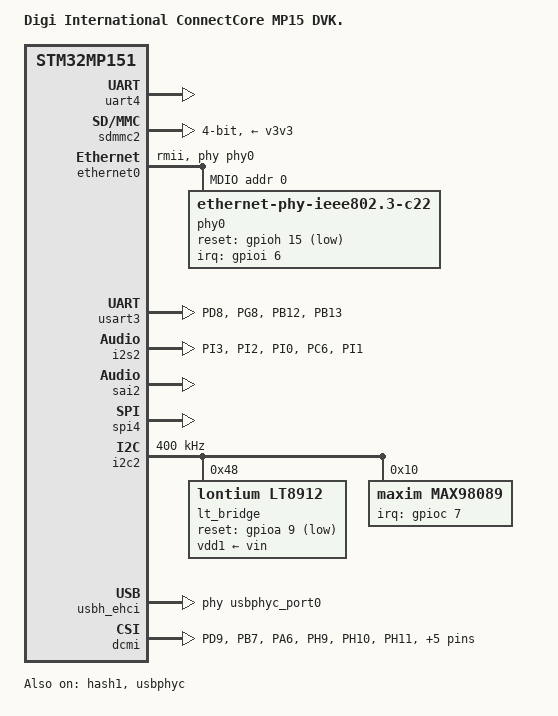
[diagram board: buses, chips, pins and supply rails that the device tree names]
/*
 * Copyright 2022, Digi International Inc.
 *
 * Permission to use, copy, modify, and/or distribute this software for any
 * purpose with or without fee is hereby granted, provided that the above
 * copyright notice and this permission notice appear in all copies.
 * THE SOFTWARE IS PROVIDED "AS IS" AND THE AUTHOR DISCLAIMS ALL WARRANTIES
 * WITH REGARD TO THIS SOFTWARE INCLUDING ALL IMPLIED WARRANTIES OF
 * MERCHANTABILITY AND FITNESS. IN NO EVENT SHALL THE AUTHOR BE LIABLE FOR
 * ANY SPECIAL, DIRECT, INDIRECT, OR CONSEQUENTIAL DAMAGES OR ANY DAMAGES
 * WHATSOEVER RESULTING FROM LOSS OF USE, DATA OR PROFITS, WHETHER IN AN
 * ACTION OF CONTRACT, NEGLIGENCE OR OTHER TORTIOUS ACTION, ARISING OUT OF
 * OR IN CONNECTION WITH THE USE OR PERFORMANCE OF THIS SOFTWARE.
 */

/dts-v1/;

/* STM32MP151 CPU */
#include "stm32mp151.dtsi"
#include "stm32mp15xa.dtsi"
#include "stm32mp15-pinctrl.dtsi"
#include "stm32mp15xxac-pinctrl.dtsi"
/* Digi ConnectCore CCMP15 */
#include "ccmp15.dtsi"

/ {
	model = "Digi International ConnectCore MP15 DVK.";
	compatible = "digi,ccmp15-dvk", "digi,ccmp15", "st,stm32mp151";
	digi,machine,name = "ccmp151-dvk";

	chosen {
		stdout-path = "serial0:115200n8";
	};

/*	panel {
		compatible = "auo,g101evn010", "simple-panel";
		//power-supply = <&ldo4_ext>;
		//backlight = <&lcd_backlight>;

		port {
			panel_in: endpoint {
				remote-endpoint = <&display_out>;
			};
		};
	};*/

	usb_phy_tuning: usb-phy-tuning {
		st,hs-dc-level = <2>;
		st,fs-rftime-tuning;
		st,hs-rftime-reduction;
		st,hs-current-trim = <15>;
		st,hs-impedance-trim = <1>;
		st,squelch-level = <3>;
		st,hs-rx-offset = <2>;
		st,no-lsfs-sc;
	};

	sound_max98089: sound-max98089 {
		compatible = "st,stm-audio-max98088";
		model = "stm32_max98088";
		cpu-dai = <&i2s2>;
		audio-codec = <&max98089>;
		audio-routing =
			"Headphone Jack", "HPL",
			"Headphone Jack", "HPR",
			"Ext Spk", "SPKL",
			"Ext Spk", "SPKR",
			"LineOut", "RECL",
			"LineOut", "RECR",
			"Mic1", "MIC1",
			"Mic2", "MIC2",
			"LineInA", "INA1",
			"LineInA", "INA2",
			"LineInB", "INB1",
			"LineInB", "INB2";
		status = "okay";
	};
};

/* Console */
&uart4 {
	pinctrl-names = "default", "sleep", "idle";
	pinctrl-0 = <&uart4_pins_a>;
	pinctrl-1 = <&uart4_sleep_pins_a>;
	pinctrl-2 = <&uart4_idle_pins_a>;
	/delete-property/dmas;
	/delete-property/dma-names;
	status = "okay";
};

/* Micro SD */ 
&sdmmc2 {
	pinctrl-names = "default", "opendrain", "sleep";
	pinctrl-0 = <&sdmmc2_b4_pins_a>;
	pinctrl-1 = <&sdmmc2_b4_od_pins_a>;
	pinctrl-2 = <&sdmmc2_b4_sleep_pins_a>;
	broken-cd;
	disable-wp;
	st,neg-edge;
	bus-width = <4>;
	vmmc-supply = <&v3v3>;
	status = "okay";
};

&ethernet0 {
	status = "okay";
	pinctrl-0 = <&ethernet0_rmii_pins_a>;
	pinctrl-1 = <&ethernet0_rmii_sleep_pins_a>;
	pinctrl-names = "default", "sleep";
	phy-mode = "rmii";
	max-speed = <100>;
	phy-handle = <&phy0>;
	local-mac-address = [00 04 F3 22 23 24];
	st,eth-ref-clk-sel = <1>;
	st,ext-phyclk = <1>;

	mdio0 {
		#address-cells = <1>;
		#size-cells = <0>;
		compatible = "snps,dwmac-mdio";

		phy0: ethernet-phy@0 {
			reg = <0>;
			compatible = "ethernet-phy-ieee802.3-c22";
			reset-gpios = <&gpioh 15 GPIO_ACTIVE_LOW>;
			reset-assert-us = <500>;
			smsc,disable-energy-detect;
			interrupt-parent = <&gpioi>;
			interrupts = <6 IRQ_TYPE_LEVEL_LOW>;
		};
	};
};

/* GigaBit network connection
&ethernet1 {
	status = "okay";
	pinctrl-0 = <&ethernet0_rgmii_pins_a>;
	pinctrl-1 = <&ethernet0_rgmii_sleep_pins_a>;
	pinctrl-names = "default", "sleep";
	phy-mode = "rgmii-id";
	max-speed = <1000>;
	phy-handle = <&phy0>;
	local-mac-address = [00 04 F3 22 23 24];

	mdio0 {
		#address-cells = <1>;
		#size-cells = <0>;
		compatible = "snps,dwmac-mdio";
		phy0: ethernet-phy@0 {
			reg = <0>;
		};
	};
};*/

&hash1 {
	status = "okay";
};

/* Connected to XBee some pins are shared with LTDC */
&usart3 {
	pinctrl-names = "default", "sleep", "idle";
	pinctrl-0 = <&ccmp15_usart3_pins>;
	pinctrl-1 = <&ccmp15_usart3_sleep_pins>;
	pinctrl-2 = <&ccmp15_usart3_idle_pins>;
	uart-has-rtscts;
	status = "okay";
};

&i2s2 {
	clocks = <&rcc SPI2>, <&rcc SPI2_K>, <&rcc PLL3_Q>, <&rcc PLL3_R>;
	clock-names = "pclk", "i2sclk", "x8k", "x11k";
	pinctrl-names = "default", "sleep";
	pinctrl-0 = <&ccmp15_i2s2_pins_a>;
	pinctrl-1 = <&ccmp15_i2s2_sleep_pins_a>;
	status = "okay";
	#clock-cells = <0>;
};

&ltdc {
	pinctrl-names = "default", "sleep";
	pinctrl-0 = <&ltdc_pins_a>;
	pinctrl-1 = <&ltdc_sleep_pins_a>;
	status = "disabled";

	port {
		ltdc_ep0_out: endpoint@0 {
			reg = <0>;
			//remote-endpoint = <&dsi_in>;
		};
	};
};

&sai2 {
	clocks = <&rcc SAI2>, <&rcc PLL3_Q>, <&rcc PLL3_R>;
	clock-names = "pclk", "x8k", "x11k";
	pinctrl-names = "default", "sleep";
	pinctrl-0 = <&sai2a_pins_a>, <&sai2b_pins_b>;
	pinctrl-1 = <&sai2a_sleep_pins_a>, <&sai2b_sleep_pins_b>;
	status = "okay";

	sai2a: audio-controller@4400b004 {
		#clock-cells = <0>;
		dma-names = "tx";
		status = "okay";

		sai2a_port: port {
			sai2a_endpoint: endpoint {
				// audio-codec remote-endpoint = <&cs42l51_tx_endpoint>;
				format = "i2s";
				mclk-fs = <256>;
				dai-tdm-slot-num = <2>;
				dai-tdm-slot-width = <32>;
			};
		};
	};

	sai2b: audio-controller@4400b024 {
		dma-names = "rx";
		st,sync = <&sai2a 2>;
		clocks = <&rcc SAI2_K>, <&sai2a>;
		clock-names = "sai_ck", "MCLK";
		status = "okay";

		sai2b_port: port {
			sai2b_endpoint: endpoint {
				//audio codec remote-endpoint = <&cs42l51_rx_endpoint>;
				format = "i2s";
				mclk-fs = <256>;
				dai-tdm-slot-num = <2>;
				dai-tdm-slot-width = <32>;
			};
		};
	};
};

&spi4 {
	pinctrl-names = "default", "sleep";
	pinctrl-0 = <&spi4_pins_b>;
	pinctrl-1 = <&spi4_sleep_pins_b>;
	status = "okay";
};

&i2c2 {
	clock-frequency = <400000>;
	pinctrl-name = "default", "sleep";
	pinctrl-0 = <&i2c2_pins_a>;
	pinctrl-1 = <&i2c2_sleep_pins_a>;
	i2c-scl-rising-time-ns = <185>;
	i2c-scl-falling-time-ns = <20>;
	status = "okay";
	/* spare dmas for other usage */
	/delete-property/dmas;
	/delete-property/dma-names;

	lt_bridge: lt8912@48 {
		compatible = "lontium,lt8912";
		reg = <0x48>;
		reset-gpios = <&gpioa 9 GPIO_ACTIVE_LOW>;
		//hpd-gpios = <&gpioX X GPIO_ACTIVE_HIGH>;
		digi,dsi-lanes = <2>;
		vdd1-supply = <&vin>;
		no-edid;
		status = "okay";

		port {
			lt8912_1_in: endpoint {
				/* add lanes 
				remote-endpoint = <&mipi_dsi_hdmi_out>; */
			};
		};
	};

	max98089: codec@10 {
		compatible = "maxim,max98089";
		reg = <0x10>;
		clocks = <&rcc SPI2_K>;
		clock-names = "mclk";
		interrupt-parent = <&gpioc>;
		interrupts = <7 IRQ_TYPE_EDGE_FALLING>;
		#sound-dai-cells = <0>;
		#clock-cells = <0>;
		status = "okay";
	};
};

&i2c6 {
	clock-frequency = <400000>;
	pinctrl-name = "default", "sleep";
	pinctrl-0 = <&i2c6_pins_a>;
	pinctrl-1 = <&i2c6_sleep_pins_a>;
	i2c-scl-rising-time-ns = <185>;
	i2c-scl-falling-time-ns = <20>;
	status = "disabled";
	/* spare dmas for other usage */
	/delete-property/dmas;
	/delete-property/dma-names;
};

&usbh_ehci {
	phys = <&usbphyc_port0>;
	phy-names = "usb";
	status = "okay";
};

&usbotg_hs {
	pinctrl-0 = <&usbotg_hs_pins_a>;
	pinctrl-names = "default";
	phy-names = "usb2-phy";
	phys = <&usbphyc_port1 0>;
	status = "disabled";
	vbus-supply = <&vbus_otg>;
};

&usbphyc {
	status = "okay";
};

&usbphyc_port0 {
	phy-supply = <&vdd_usb>;
	vdda1v1-supply = <&reg11>;
	vdda1v8-supply = <&reg18>;
};

&usbphyc_port1 {
	phy-supply = <&vdd_usb>;
	vdda1v1-supply = <&reg11>;
	vdda1v8-supply = <&reg18>;
};

&dcmi {
	status = "okay";
	pinctrl-names = "default", "sleep";
	pinctrl-0 = <&ccmp15_dcmi_pins_a>;
	pinctrl-1 = <&ccmp15_dcmi_sleep_pins_a>;

	port {
		dcmi_0: endpoint {
			//remote-endpoint = <&ov5640_0>;
			bus-type = <5>;
			bus-width = <8>;
			hsync-active = <0>;
			vsync-active = <0>;
			pclk-sample = <1>;
			pclk-max-frequency = <24000000>;
		};
	};
};

&pinctrl {
	ccmp15_usart3_pins: usart3-1 {
		pins1 {
			pinmux = <STM32_PINMUX('D', 8, AF7)>, /* USART3_TX */
				 <STM32_PINMUX('G', 8, AF8)>; /* USART3_RTS */
			bias-disable;
			drive-push-pull;
			slew-rate = <0>;
		};
		pins2 {
			pinmux = <STM32_PINMUX('B', 12, AF8)>, /* USART3_RX */
				 <STM32_PINMUX('B', 13, AF7)>; /* USART3_CTS_NSS */
			bias-pull-up;
		};
	};

	ccmp15_usart3_idle_pins: usart3-idle-1 {
		pins1 {
			pinmux = <STM32_PINMUX('D', 8, ANALOG)>, /* USART3_TX */
				 <STM32_PINMUX('B', 13, ANALOG)>; /* USART3_CTS_NSS */
		};
		pins2 {
			pinmux = <STM32_PINMUX('G', 8, AF8)>; /* USART3_RTS */
			bias-disable;
			drive-push-pull;
			slew-rate = <0>;
		};
		pins3 {
			pinmux = <STM32_PINMUX('B', 12, AF8)>; /* USART3_RX */
			bias-pull-up;
		};
	};

	ccmp15_usart3_sleep_pins: usart3-sleep-1 {
		pins {
			pinmux = <STM32_PINMUX('D', 8, ANALOG)>, /* USART3_TX */
				 <STM32_PINMUX('G', 8, ANALOG)>, /* USART3_RTS */
				 <STM32_PINMUX('B', 13, ANALOG)>, /* USART3_CTS_NSS */
				 <STM32_PINMUX('B', 12, ANALOG)>; /* USART3_RX */
		};
	};

	ccmp15_ltdc_pins: ltdc-0 {
		pins {
			pinmux = <STM32_PINMUX('G',  7, AF14)>, /* LCD_CLK */
				 <STM32_PINMUX('I', 10, AF14)>, /* LCD_HSYNC */
				 <STM32_PINMUX('I',  9, AF14)>, /* LCD_VSYNC */
				 <STM32_PINMUX('F', 10, AF14)>, /* LCD_DE */
				 <STM32_PINMUX('H',  2, AF14)>, /* LCD_R0 */
				 <STM32_PINMUX('H',  3, AF14)>, /* LCD_R1 */
				 <STM32_PINMUX('H',  8, AF14)>, /* LCD_R2 */
				 <STM32_PINMUX('B',  0, AF9)>, /* LCD_R3 */
				 <STM32_PINMUX('A',  5, AF14)>, /* LCD_R4 */
				 <STM32_PINMUX('C',  0, AF14)>, /* LCD_R5 */
				 <STM32_PINMUX('H', 12, AF14)>, /* LCD_R6 */
				 <STM32_PINMUX('E', 15, AF14)>, /* LCD_R7 */
				 <STM32_PINMUX('B',  1, AF14)>, /* LCD_G0 */
				 <STM32_PINMUX('E',  6, AF14)>, /* LCD_G1 */
				 <STM32_PINMUX('H', 13, AF14)>, /* LCD_G2 */
				 <STM32_PINMUX('G', 10, AF9)>, /* LCD_G3 */
				 <STM32_PINMUX('H', 15, AF14)>, /* LCD_G4 */
				 <STM32_PINMUX('F', 11, AF14)>, /* LCD_G5 */
				 <STM32_PINMUX('I', 11, AF9)>, /* LCD_G6 */
				 <STM32_PINMUX('B',  5, AF14)>, /* LCD_G7 */
				 <STM32_PINMUX('E',  4, AF14)>, /* LCD_B0 */
				 <STM32_PINMUX('G', 12, AF14)>, /* LCD_B1 */
				 <STM32_PINMUX('A',  3, AF9)>, /* LCD_B2 */
				 <STM32_PINMUX('D', 10, AF14)>, /* LCD_B3 */
				 <STM32_PINMUX('I',  4, AF14)>, /* LCD_B4 */
				 <STM32_PINMUX('I',  5, AF14)>, /* LCD_B5 */
				 <STM32_PINMUX('I',  6, AF14)>, /* LCD_B6 */
				 <STM32_PINMUX('I',  7, AF14)>; /* LCD_B7 */
			bias-disable;
			drive-push-pull;
			slew-rate = <1>;
		};
	};

	ccmp15_ltdc_sleep_pins: ltdc-sleep-0 {
		pins {
			pinmux = <STM32_PINMUX('G',  7, ANALOG)>, /* LCD_CLK */
				 <STM32_PINMUX('I', 10, ANALOG)>, /* LCD_HSYNC */
				 <STM32_PINMUX('I',  9, ANALOG)>, /* LCD_VSYNC */
				 <STM32_PINMUX('F', 10, ANALOG)>, /* LCD_DE */
				 <STM32_PINMUX('H',  2, ANALOG)>, /* LCD_R0 */
				 <STM32_PINMUX('H',  3, ANALOG)>, /* LCD_R1 */
				 <STM32_PINMUX('H',  8, ANALOG)>, /* LCD_R2 */
				 <STM32_PINMUX('B',  0, ANALOG)>, /* LCD_R3 */
				 <STM32_PINMUX('A',  5, ANALOG)>, /* LCD_R4 */
				 <STM32_PINMUX('C',  0, ANALOG)>, /* LCD_R5 */
				 <STM32_PINMUX('H', 12, ANALOG)>, /* LCD_R6 */
				 <STM32_PINMUX('E', 15, ANALOG)>, /* LCD_R7 */
				 <STM32_PINMUX('B',  1, ANALOG)>, /* LCD_G0 */
				 <STM32_PINMUX('E',  6, ANALOG)>, /* LCD_G1 */
				 <STM32_PINMUX('H', 13, ANALOG)>, /* LCD_G2 */
				 <STM32_PINMUX('G', 10, ANALOG)>, /* LCD_G3 */
				 <STM32_PINMUX('H', 15, ANALOG)>, /* LCD_G4 */
				 <STM32_PINMUX('F', 11, ANALOG)>, /* LCD_G5 */
				 <STM32_PINMUX('I', 11, ANALOG)>, /* LCD_G6 */
				 <STM32_PINMUX('B',  5, ANALOG)>, /* LCD_G7 */
				 <STM32_PINMUX('E',  4, ANALOG)>, /* LCD_B0 */
				 <STM32_PINMUX('G', 12, ANALOG)>, /* LCD_B1 */
				 <STM32_PINMUX('A',  3, ANALOG)>, /* LCD_B2 */
				 <STM32_PINMUX('D', 10, ANALOG)>, /* LCD_B3 */
				 <STM32_PINMUX('I',  4, ANALOG)>, /* LCD_B4 */
				 <STM32_PINMUX('I',  5, ANALOG)>, /* LCD_B5 */
				 <STM32_PINMUX('I',  6, ANALOG)>, /* LCD_B6 */
				 <STM32_PINMUX('I',  7, ANALOG)>; /* LCD_B7 */
		};
	};

	ccmp15_i2s2_pins_a: i2s2-0 {
                pins {
                        pinmux = <STM32_PINMUX('I', 3, AF5)>, /* I2S2_SDO */
                                 <STM32_PINMUX('I', 2, AF5)>, /* I2S2_SDI */
                                 <STM32_PINMUX('I', 0, AF5)>, /* I2S2_WS */
                                 <STM32_PINMUX('C', 6, AF5)>, /* I2S2_MCK */
                                 <STM32_PINMUX('I', 1, AF5)>; /* I2S2_CK */
                        slew-rate = <1>;
                        drive-push-pull;
                        bias-disable;
                };
        };

        ccmp15_i2s2_sleep_pins_a: i2s2-sleep-0 {
                pins {
                        pinmux = <STM32_PINMUX('I', 3, ANALOG)>, /* I2S2_SDO */
                                 <STM32_PINMUX('I', 2, ANALOG)>, /* I2S2_SDI */
                                 <STM32_PINMUX('I', 0, ANALOG)>, /* I2S2_WS */
                                 <STM32_PINMUX('C', 6, ANALOG)>, /* I2S2_MCK */
                                 <STM32_PINMUX('I', 1, ANALOG)>; /* I2S2_CK */
                };
        };

	ccmp15_dcmi_pins_a: dcmi-0 {
		pins {
			pinmux = <STM32_PINMUX('D', 9,  AF13)>,/* DCMI_HSYNC */
				 <STM32_PINMUX('B', 7,  AF13)>,/* DCMI_VSYNC */
				 <STM32_PINMUX('A', 6,  AF13)>,/* DCMI_PIXCLK */
				 <STM32_PINMUX('H', 9,  AF13)>,/* DCMI_D0 */
				 <STM32_PINMUX('H', 10, AF13)>,/* DCMI_D1 */
				 <STM32_PINMUX('H', 11, AF13)>,/* DCMI_D2 */
				 <STM32_PINMUX('E',  1, AF13)>,/* DCMI_D3 */
				 <STM32_PINMUX('H', 14, AF13)>,/* DCMI_D4 */
				 <STM32_PINMUX('D', 3,  AF13)>,/* DCMI_D5 */
				 <STM32_PINMUX('B', 8,  AF13)>,/* DCMI_D6 */
				 <STM32_PINMUX('B', 9,  AF13)>;/* DCMI_D7 */
			bias-disable;
		};
	};

	ccmp15_dcmi_sleep_pins_a: dcmi-sleep-0 {
		pins {
			pinmux = <STM32_PINMUX('H', 8,  ANALOG)>,/* DCMI_HSYNC */
				 <STM32_PINMUX('B', 7,  ANALOG)>,/* DCMI_VSYNC */
				 <STM32_PINMUX('A', 6,  ANALOG)>,/* DCMI_PIXCLK */
				 <STM32_PINMUX('H', 9,  ANALOG)>,/* DCMI_D0 */
				 <STM32_PINMUX('H', 10, ANALOG)>,/* DCMI_D1 */
				 <STM32_PINMUX('H', 11, ANALOG)>,/* DCMI_D2 */
				 <STM32_PINMUX('E',  1, ANALOG)>,/* DCMI_D3 */
				 <STM32_PINMUX('H', 14, ANALOG)>,/* DCMI_D4 */
				 <STM32_PINMUX('D', 3,  ANALOG)>,/* DCMI_D5 */
				 <STM32_PINMUX('B', 8,  ANALOG)>,/* DCMI_D6 */
				 <STM32_PINMUX('B', 9,  ANALOG)>;/* DCMI_D7 */
		};
	};
};

&pinctrl_z {
	i2c6_pins_a: i2c6-0 {
		pins {
			pinmux = <STM32_PINMUX('Z', 0, AF6)>, /* I2C6_SCL */
				 <STM32_PINMUX('Z', 3, AF6)>; /* I2C6_SDA */
			bias-disable;
			drive-open-drain;
			slew-rate = <0>;
		};
	};

	i2c6_sleep_pins_a: i2c6-sleep-0 {
		pins {
			pinmux = <STM32_PINMUX('Z', 0, ANALOG)>, /* I2C6_SCL */
				 <STM32_PINMUX('Z', 3, ANALOG)>; /* I2C6_SDA */
		};
	};
};
